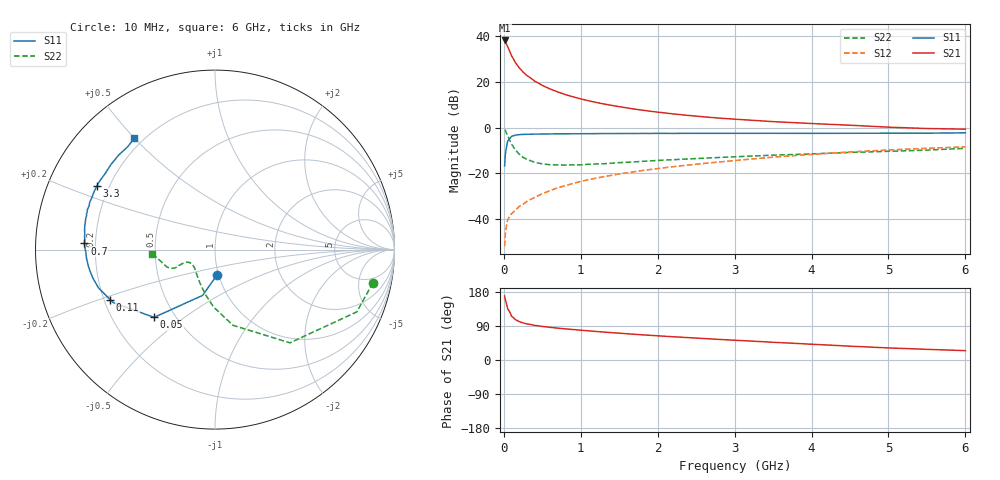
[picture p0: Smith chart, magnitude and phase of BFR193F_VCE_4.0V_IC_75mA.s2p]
! Infineon Technologies  Discrete & RF Semiconductors
! BFR193F
! VCE =  4.0 V,  IC =  75 mA
! Common Emitter S-Parameters:  Jan 2017
# GHz  S  MA  R  50
!  f  S11  S21  S12  S22
! GHz  MAG  ANG  MAG  ANG  MAG  ANG  MAG  ANG
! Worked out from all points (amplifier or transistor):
!   77 points, 10 MHz to 6 GHz, reference 50 ohm
!   highest |S21| = 38.2 dB at 10 MHz (marker M1)
!   |S21| within 3 dB of that: start of sweep to 53.36 MHz
!   unconditionally stable (mu >= 1): 687 MHz to 2.601 GHz
!   at 130 MHz: K = 0.61, MSG = 33.3 dB, |S12| = -36.9 dB
!   at 2.2 GHz: K = 1.02, MAG = 10.8 dB, |S12| = -17.2 dB
!   at 6 GHz: K = 0.87, MSG = 3.9 dB, |S12| = -8.5 dB
!   S11 on the Smith chart (normalised r, x): 10 MHz: 0.98, -0.29; 50 MHz: 0.38, -0.39; 110 MHz: 0.22, -0.22; 700 MHz: 0.16, +0.02; 3.3 GHz: 0.15, +0.25; 6 GHz: 0.17, +0.50
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0.01  0.1442 -86.3  81.26 169.1  0.0025 82.7  0.8994 -11.8
0.02  0.2644 -105.1  77.12 158.2  0.0047 74.1  0.8629 -23.7
0.05  0.508 -132.0  59.15 134.9  0.0094 60.3  0.6666 -51.2
0.1  0.6401 -152.6  37.54 115.4  0.0129 54.3  0.4338 -76.6
0.11  0.6473 -154.5  35.3 114.1  0.0134 54.6  0.4095 -78.9
0.15  0.6829 -161.7  26.61 106.6  0.0153 55.4  0.3212 -91.2
0.2  0.6985 -166.8  20.39 101.3  0.0186 57.4  0.2613 -100.9
0.25  0.707 -170.5  16.47 97.9  0.0208 61.1  0.2221 -109.3
0.3  0.7122 -172.8  13.83 95.3  0.024 64.1  0.2006 -115.4
0.4  0.7178 -176.4  10.44 91.4  0.0292 67.7  0.1731 -125.6
0.5  0.7196 -178.8  8.391 88.6  0.0353 70.6  0.1595 -132.6
0.6  0.7247 179.3  7.029 86.2  0.0413 71.8  0.1529 -138.3
0.7  0.7282 177.3  6.035 84.0  0.0476 73.1  0.1511 -142.2
0.9  0.7304 174.3  4.713 80.4  0.0595 74.6  0.1511 -148.4
1.1  0.7342 171.8  3.872 77.0  0.0717 75.5  0.1564 -151.3
1.5  0.7394 167.4  2.867 70.8  0.096 75.4  0.17 -155.6
2.1  0.7438 161.7  2.085 62.6  0.132 74.9  0.1934 -156.8
3.1  0.7469 153.3  1.488 51.1  0.1954 72.3  0.232 -155.3
3.3  0.7471 151.6  1.417 49.0  0.2096 71.5  0.2398 -155.4
4.1  0.745 144.4  1.204 40.6  0.2643 67.6  0.2682 -157.4
5.1  0.7514 134.4  1.005 31.1  0.3276 61.6  0.3047 -166.6
6  0.7663 125.9  0.921 24.7  0.3774 55.8  0.3502 -176.1
